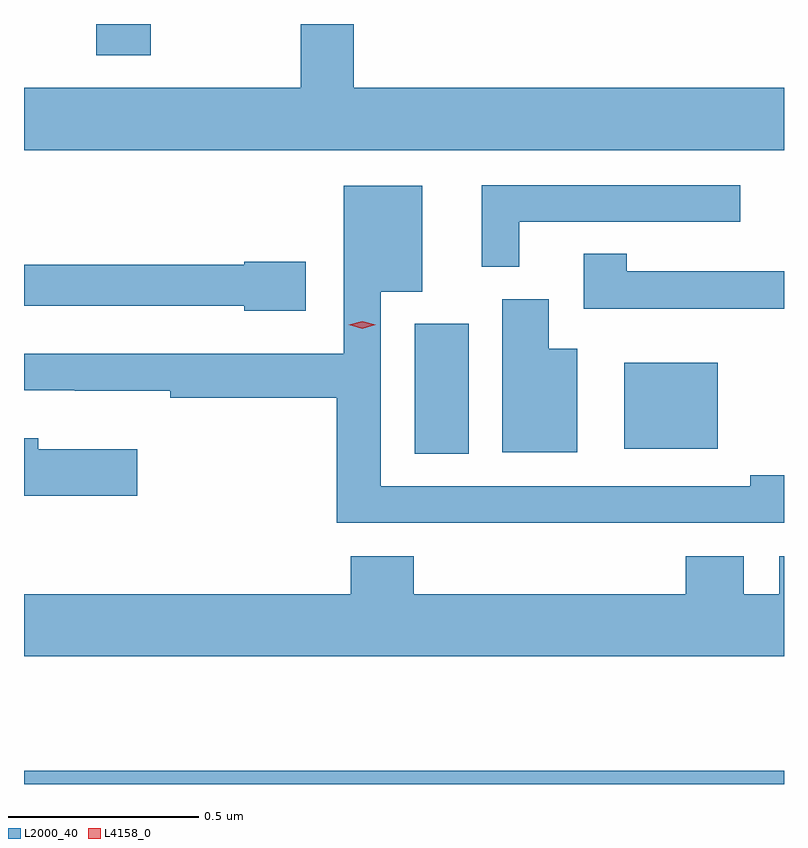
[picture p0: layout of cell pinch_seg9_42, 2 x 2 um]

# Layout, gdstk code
import gdstk
lib = gdstk.Library(unit=1e-6, precision=1e-09)
def R(c, l, rs):  # rectangles x0, y0, x1, y1
    for r in rs: c.add(gdstk.rectangle(r[:2], r[2:], *l))
def P(c, l, *ps):  # polygons
    for p in ps: c.add(gdstk.Polygon(p, *l))
L2000_40 = (2000, 40)
L4158_0 = (4158, 0)

pinch_seg9_42 = lib.new_cell('pinch_seg9_42')
R(pinch_seg9_42, L2000_40, [(1000.821,1240.04,1002.821,1240.075), (1001.849,1240.909,1001.992,1241.251), (1002.401,1240.922,1002.646,1241.149), (1001.011,1241.958,1001.154,1242.04)])
P(pinch_seg9_42, L2000_40, [(1002.821,1241.872),(1001.689,1241.872),(1001.689,1242.04),(1001.549,1242.04),(1001.549,1241.872),(1000.821,1241.872),(1000.821,1241.708),(1002.821,1241.708)],
  [(1002.124,1241.52),(1002.706,1241.52),(1002.706,1241.616),(1002.026,1241.616),(1002.026,1241.401),(1002.124,1241.401)],
  [(1002.479,1240.728),(1002.821,1240.728),(1002.821,1240.852),(1002.732,1240.852),(1002.732,1240.824),(1001.76,1240.824),(1001.76,1241.336),(1001.869,1241.336),(1001.869,1241.614),(1001.663,1241.614),(1001.663,1241.172),(1000.821,1241.172),(1000.821,1241.076),(1000.954,1241.076),(1000.954,1241.075),(1001.206,1241.075),(1001.206,1241.056),(1001.644,1241.056),(1001.644,1240.728),(1001.929,1240.728),(1001.929,1240.727),(1002.479,1240.727)],
  [(1002.821,1241.389),(1002.407,1241.389),(1002.407,1241.435),(1002.294,1241.435),(1002.294,1241.291),(1002.821,1241.291)],
  [(1001.563,1241.415),(1001.4,1241.415),(1001.4,1241.407),(1000.821,1241.407),(1000.821,1241.298),(1001.4,1241.298),(1001.4,1241.285),(1001.563,1241.285)],
  [(1002.277,1241.185),(1002.202,1241.185),(1002.202,1241.316),(1002.08,1241.316),(1002.08,1240.913),(1002.277,1240.913)],
  [(1001.119,1240.921),(1000.858,1240.921),(1000.858,1240.95),(1000.821,1240.95),(1000.821,1240.799),(1001.119,1240.799)],
  [(1002.821,1240.639),(1002.809,1240.639),(1002.809,1240.54),(1002.715,1240.54),(1002.715,1240.639),(1002.563,1240.639),(1002.563,1240.54),(1001.846,1240.54),(1001.846,1240.639),(1001.681,1240.639),(1001.681,1240.54),(1000.821,1240.54),(1000.821,1240.376),(1002.821,1240.376)])
P(pinch_seg9_42, L4158_0, [(1001.711,1241.238),(1001.675,1241.248),(1001.675,1241.248),(1001.675,1241.249),(1001.711,1241.258),(1001.746,1241.249),(1001.747,1241.248),(1001.746,1241.248)])

lib.write_gds('pinch_seg9_42.gds')
